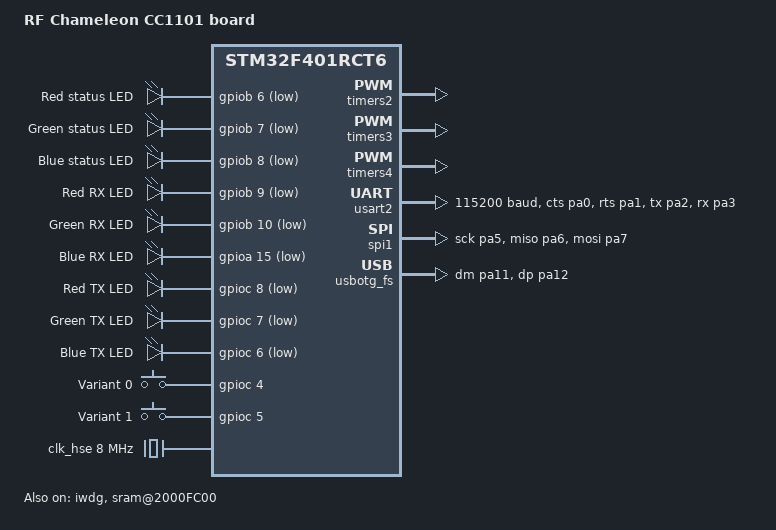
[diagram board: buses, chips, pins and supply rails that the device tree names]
/*
 * SPDX-FileCopyrightText: Copyright 2023 Andreas Sandberg <andreas@sandberg.uk>
 *
 * SPDX-License-Identifier: Apache-2.0
 */

/dts-v1/;
#include <st/f4/stm32f401Xc.dtsi>
#include <st/f4/stm32f401r(b-c)tx-pinctrl.dtsi>

#define LED_PWM_PERIOD PWM_MSEC(5)

/ {
	model = "RF Chameleon CC1101 board";
	compatible = "sandberg-uk,rfch-stm32f401rct6-cc1101";

	chosen {
		zephyr,console = &usart2;
		zephyr,shell-uart = &usart2;
		zephyr,sram = &sram0;
		zephyr,flash = &flash0;
		zephyr,code-partition = &slot0_partition;
		zephyr,boot-mode = &boot_mode0;
		zephyr,bootloader-info = &boot_info0;
	};

	aliases {
		led0 = &led_status_r;
		mcuboot-led0 = &led_status_r;
		watchdog0 = &iwdg;
	};

	led_status: led_status {
		compatible = "gpio-leds";
		status = "okay";

		led_status_r: led_status_r {
			gpios = <&gpiob 6 GPIO_ACTIVE_LOW>;
			label = "Red status LED";
		};

		led_status_g: led_status_g {
			gpios = <&gpiob 7 GPIO_ACTIVE_LOW>;
			label = "Green status LED";
		};

		led_status_b: led_status_b {
			gpios = <&gpiob 8 GPIO_ACTIVE_LOW>;
			label = "Blue status LED";
		};
	};

	led_rx: led_rx {
		compatible = "gpio-leds";
		status = "okay";

		led_rx_r: led_rx_r {
			gpios = <&gpiob 9 GPIO_ACTIVE_LOW>;
			label = "Red RX LED";
		};

		led_rx_g: led_rx_g {
			gpios = <&gpiob 10 GPIO_ACTIVE_LOW>;
			label = "Green RX LED";
		};

		led_rx_b: led_rx_b {
			gpios = <&gpioa 15 GPIO_ACTIVE_LOW>;
			label = "Blue RX LED";
		};
	};

	led_tx: led_tx {
		compatible = "gpio-leds";
		status = "okay";

		led_tx_r: led_tx_r {
			gpios = <&gpioc 8 GPIO_ACTIVE_LOW>;
			label = "Red TX LED";
		};

		led_tx_g: led_tx_g {
			gpios = <&gpioc 7 GPIO_ACTIVE_LOW>;
			label = "Green TX LED";
		};

		led_tx_b: led_tx_b {
			gpios = <&gpioc 6 GPIO_ACTIVE_LOW>;
			label = "Blue TX LED";
		};
	};

	pwm_led_status: pwm_led_status {
		compatible = "pwm-leds";
		status = "disabled";

		red {
			pwms = <&pwm4 1 LED_PWM_PERIOD PWM_POLARITY_INVERTED>;
			label = "Status red";
		};

		green {
			pwms = <&pwm4 2 LED_PWM_PERIOD PWM_POLARITY_INVERTED>;
			label = "Status green";
		};

		blue {
			pwms = <&pwm4 3 LED_PWM_PERIOD PWM_POLARITY_INVERTED>;
			label = "Status blue";
		};
	};

	pwm_led_rx: pwm_led_rx {
		compatible = "pwm-leds";
		status = "disabled";

		red {
			pwms = <&pwm4 4 LED_PWM_PERIOD PWM_POLARITY_INVERTED>;
			label = "RX red";
		};

		green {
			pwms = <&pwm2 3 LED_PWM_PERIOD PWM_POLARITY_INVERTED>;
			label = "RX green";
		};

		blue {
			pwms = <&pwm2 1 LED_PWM_PERIOD PWM_POLARITY_INVERTED>;
			label = "RX blue";
		};
	};

	pwm_led_tx: pwm_led_tx {
		compatible = "pwm-leds";
		status = "disabled";

		red {
			pwms = <&pwm3 3 LED_PWM_PERIOD PWM_POLARITY_INVERTED>;
			label = "TX red";
		};
		green {
			pwms = <&pwm3 2 LED_PWM_PERIOD PWM_POLARITY_INVERTED>;
			label = "TX green";
		};
		blue {
			pwms = <&pwm3 1 LED_PWM_PERIOD PWM_POLARITY_INVERTED>;
			label = "TX blue";
		};
	};

	buttons {
		compatible = "gpio-keys";
		sw_variant0: sw_variant0 {
			gpios = <&gpioc 4 (GPIO_PULL_DOWN | GPIO_ACTIVE_HIGH)>;
			label = "Variant 0";
		};

		sw_variant1: sw_variant1 {
			gpios = <&gpioc 5 (GPIO_PULL_DOWN | GPIO_ACTIVE_HIGH)>;
			label = "Variant 1";
		};
	};

	sram@2000FC00 {
		compatible = "zephyr,memory-region", "mmio-sram";
		reg = <0x2000FC00 DT_SIZE_K(1)>;
		zephyr,memory-region = "RetainedMem";
		status = "okay";

		retainedmem {
			compatible = "zephyr,retained-ram";
			status = "okay";
			#address-cells = <1>;
			#size-cells = <1>;

			boot_mode0: boot_mode@0 {
				compatible = "zephyr,retention";
				status = "okay";
				reg = <0x0 0x8>;
				prefix = [12 34];
				checksum = <2>;
			};

			boot_info0: boot_info@10 {
				compatible = "zephyr,retention";
				status = "okay";
				reg = <0x10 0x100>;
				prefix = [56 78];
				checksum = <2>;
			};
		};
	};
};

&clk_lsi {
	status = "okay";
};

&clk_hse {
	status = "okay";
	clock-frequency = <DT_FREQ_M(8)>;
};

&rcc {
	clocks = <&pll>;
	clock-frequency = <DT_FREQ_M(84)>;
	ahb-prescaler = <1>;
	apb1-prescaler = <2>;
	apb2-prescaler = <1>;
};

&pll {
	div-m = <8>;
	mul-n = <336>;
	div-p = <4>;
	div-q = <7>;
	clocks = <&clk_hse>;
	status = "okay";
};

&timers2 {
	st,prescaler = <10000>;
	status = "okay";

	pwm2: pwm {
		status = "disabled";
		pinctrl-0 = <
			&tim2_ch1_pa15 /* RX_B */
			&tim2_ch3_pb10 /* RX_G */
		>;
		pinctrl-names = "default";
	};
};

&timers3 {
	st,prescaler = <10000>;
	status = "okay";

	pwm3: pwm {
		status = "disabled";
		pinctrl-0 = <
			&tim3_ch1_pc6 /* STATUS_B */
			&tim3_ch2_pc7 /* STATUS_G */
			&tim3_ch3_pc8 /* STATUS_R */
		>;
		pinctrl-names = "default";
	};
};

&timers4 {
	st,prescaler = <10000>;
	status = "okay";

	pwm4: pwm {
		status = "disabled";
		pinctrl-0 = <
			&tim4_ch1_pb6 /* TX_R */
			&tim4_ch2_pb7 /* TX_G */
			&tim4_ch3_pb8 /* TX_B */
			&tim4_ch4_pb9 /* RX_R */
		>;
		pinctrl-names = "default";
	};
};

&iwdg {
	status = "okay";
};

&usart2 {
	pinctrl-0 = <
		&usart2_cts_pa0 &usart2_rts_pa1
		&usart2_tx_pa2 &usart2_rx_pa3
	>;
	pinctrl-names = "default";

	current-speed = <115200>;
	data-bits = <8>;
	parity = "none";
	stop-bits = "1";
	/* hw-flow-control; */

	status = "okay";
};

&dma2 {
	status = "okay";
};

&spi1 {
	pinctrl-0 = <&spi1_sck_pa5 &spi1_miso_pa6 &spi1_mosi_pa7>;
	pinctrl-names = "default";

	cs-gpios = <&gpioa 4 GPIO_ACTIVE_LOW>;

	status = "okay";

	dmas = <&dma2 0 3 0x10480 0x02>,
	       <&dma2 3 3 0x10440 0x02>;
	dma-names = "rx", "tx";

	cc1101: cc1101@0 {
		compatible = "ti,cc1101";

		spi-max-frequency = <6500000>;
		reg = <0>;

		gdo0-gpios = <&gpiob 0 GPIO_ACTIVE_HIGH>;
		gdo2-gpios = <&gpiob 1 GPIO_ACTIVE_HIGH>;

		status = "disabled";
	};
};

&sram0 {
	/* Carve out 1KiB for retained memory */
	reg = <0x20000000 DT_SIZE_K(63)>;
};

&flash0 {
	partitions {
		compatible = "fixed-partitions";
		#address-cells = <1>;
		#size-cells = <1>;

		boot_partition: partition@0 {
			label = "mcuboot";
			reg = <0x00000000 0x10000>;
		};
		slot0_partition: partition@10000 {
			label = "image-0";
			reg = <0x00010000 0x30000>;
		};
	};
};

zephyr_udc0: &usbotg_fs {
	pinctrl-0 = <&usb_otg_fs_dm_pa11 &usb_otg_fs_dp_pa12>;
	pinctrl-names = "default";
	status = "okay";
};
